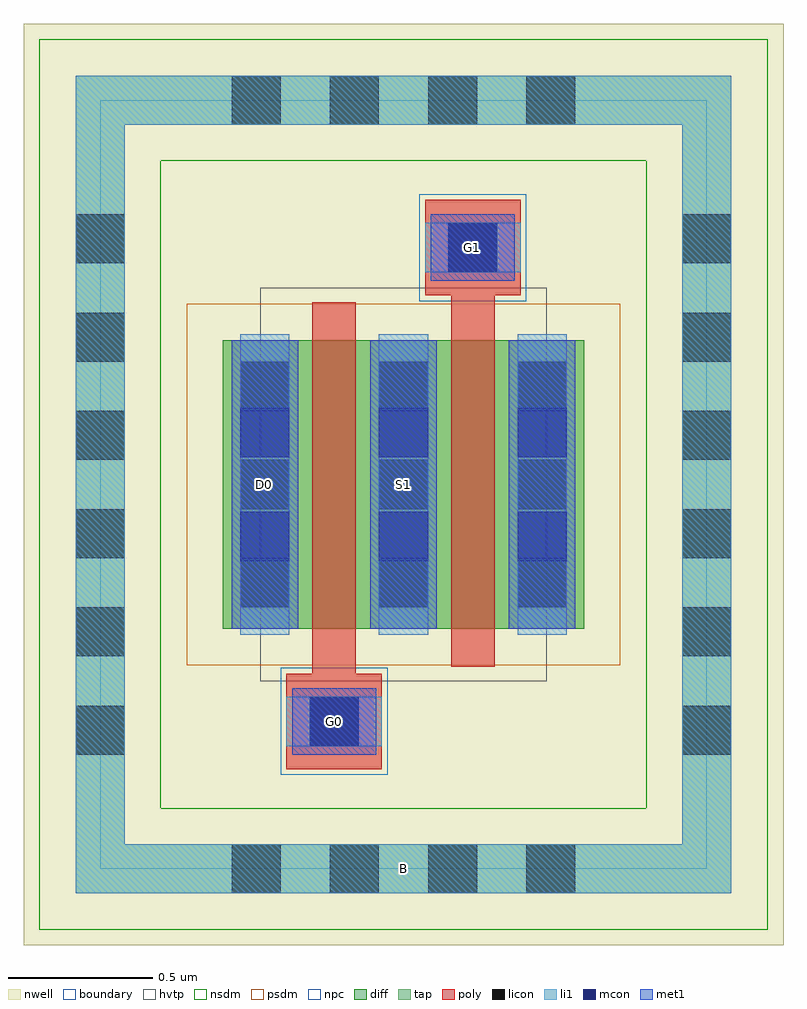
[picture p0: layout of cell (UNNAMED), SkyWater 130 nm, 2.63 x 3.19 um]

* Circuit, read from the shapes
.subckt (UNNAMED) B D0 G0 G1 S1
XM1 S1 G0 D0 B sky130_fd_pr__pfet_01v8_hvt w=1 l=0.15
XM2 n1 G1 S1 B sky130_fd_pr__pfet_01v8_hvt w=1 l=0.15
.ends

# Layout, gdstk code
import gdstk
lib = gdstk.Library(unit=1e-6, precision=1e-09)
def R(c, l, rs):  # rectangles x0, y0, x1, y1
    for r in rs: c.add(gdstk.rectangle(r[:2], r[2:], *l))
def A(c, l, x, y, w, h, nx, ny, dx, dy):  # array of equal rectangles
    R(c, l, [(x+i*dx, y+j*dy, x+i*dx+w, y+j*dy+h) for i in range(nx) for j in range(ny)])
nwell = (64, 20)
diff = (65, 20)
tap = (65, 44)
poly = (66, 20)
licon = (66, 44)
li1 = (67, 20)
mcon = (67, 44)
met1 = (68, 20)
hvtp = (78, 44)
nsdm = (93, 44)
psdm = (94, 20)
npc = (95, 20)
boundary = (235, 4)

c__unnamed_ = lib.new_cell('(UNNAMED)')
R(c__unnamed_, nwell, [(-1.315,-1.595,1.315,1.595)])
R(c__unnamed_, diff, [(-0.625,-0.5,0.625,0.5)])
R(c__unnamed_, tap, [(-1.135,-1.415,1.135,-1.245), (-1.135,-1.245,-0.965,1.245), (0.965,-1.245,1.135,1.245), (-1.135,1.245,1.135,1.415)])
R(c__unnamed_, poly, [(-0.405,-0.985,-0.075,-0.655), (-0.315,-0.655,-0.165,0.63), (0.165,-0.63,0.315,0.655), (0.075,0.655,0.405,0.985)])
A(c__unnamed_, licon, -0.595, -1.415, 0.17, 0.17, 4, 2, 0.34, 2.66)
A(c__unnamed_, licon, -1.135, -0.935, 0.17, 0.17, 1, 6, 0, 0.34)
A(c__unnamed_, licon, 0.965, -0.935, 0.17, 0.17, 1, 6, 0, 0.34)
A(c__unnamed_, licon, -0.565, -0.425, 0.17, 0.17, 3, 3, 0.48, 0.34)
R(c__unnamed_, licon, [(-0.325,-0.905,-0.155,-0.735), (0.155,0.735,0.325,0.905)])
A(c__unnamed_, li1, -0.565, -0.52, 0.17, 1.04, 3, 1, 0.48, 0)
R(c__unnamed_, li1, [(-1.135,-1.415,1.135,-1.245), (-1.135,-1.245,-0.965,1.245), (0.965,-1.245,1.135,1.245), (-0.405,-0.905,-0.075,-0.735), (0.075,0.735,0.405,0.905), (-1.135,1.245,1.135,1.415)])
A(c__unnamed_, mcon, -0.565, -0.265, 0.17, 0.17, 3, 2, 0.48, 0.36)
R(c__unnamed_, mcon, [(-0.325,-0.905,-0.155,-0.735), (0.155,0.735,0.325,0.905)])
A(c__unnamed_, met1, -0.595, -0.5, 0.23, 1, 3, 1, 0.48, 0)
R(c__unnamed_, met1, [(-0.385,-0.935,-0.095,-0.705), (0.095,0.705,0.385,0.935)])
R(c__unnamed_, hvtp, [(-0.495,-0.68,0.495,0.68)])
R(c__unnamed_, nsdm, [(-1.26,-1.54,1.26,-1.12), (-1.26,-1.12,-0.84,1.12), (0.84,-1.12,1.26,1.12), (-1.26,1.12,1.26,1.54)])
R(c__unnamed_, psdm, [(-0.75,-0.625,0.75,0.625)])
R(c__unnamed_, npc, [(-0.425,-1.005,-0.055,-0.635), (0.055,0.635,0.425,1.005)])
R(c__unnamed_, boundary, [(-1.05,-1.33,1.05,1.33)])
c__unnamed_.add(gdstk.Label('B', (0,-1.33), layer=67, texttype=5))
c__unnamed_.add(gdstk.Label('D0', (-0.48,0), layer=67, texttype=5))
c__unnamed_.add(gdstk.Label('G0', (-0.24,-0.82), layer=67, texttype=5))
c__unnamed_.add(gdstk.Label('S1', (0,0), layer=67, texttype=5))
c__unnamed_.add(gdstk.Label('G1', (0.24,0.82), layer=67, texttype=5))

lib.write_gds('_UNNAMED_.gds')
